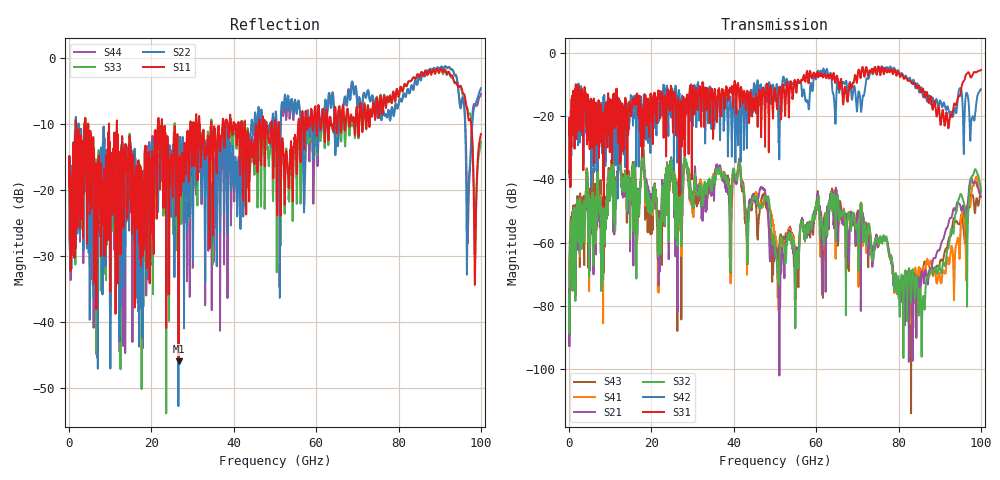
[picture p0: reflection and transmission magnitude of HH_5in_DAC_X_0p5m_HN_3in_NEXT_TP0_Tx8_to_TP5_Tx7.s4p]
# GHz S RI R 45
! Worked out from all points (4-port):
!   4000 points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, 25 MHz to 100 GHz, reference 45 ohm
!   strongest paths, dB at 25 MHz, 25.02 GHz, 50.02 GHz, 75.03 GHz, 100 GHz:
!     S31: -25.9, -17.6, -11.9, -4.7, -5.4
!     S42: -26.1, -11.5, -14.7, -4.3, -11.5
!     S32: -79.5, -34.6, -63.2, -59.6, -43.4
!     S21: -81.0, -34.4, -64.4, -60.7, -45.6
!     S41: -79.5, -34.9, -58.9, -60.2, -43.4
!     S43: -77.6, -35.0, -63.2, -61.1, -43.5
!   lowest |S11| = -46.0 dB at 26.6 GHz (marker M1), VSWR 1.01, Z = 44.6 - j0.0514 ohm
!   |S11| at or under -10 dB: 4.661 GHz to 9.697 GHz (5.036 GHz wide, 70.1 % of centre); 11.65 GHz to 21.63 GHz (9.977 GHz wide, 60 % of centre); 22.59 GHz to 29.47 GHz (6.872 GHz wide, 26.4 % of centre) (the widest 3 of 50)
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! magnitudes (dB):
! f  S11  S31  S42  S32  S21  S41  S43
! 25 MHz  -19.4  -25.9  -26.1  -79.5  -81.0  -79.5  -77.6
! 12.22 GHz  -16.5  -16.2  -22.1  -30.5  -31.2  -29.8  -29.1
! 26.6 GHz  -46.0  -16.5  -12.8  -47.4  -46.6  -44.4  -45.4
! 51.05 GHz  -11.1  -10.8  -33.7  -67.7  -88.8  -75.7  -61.3
! 64.05 GHz  -10.6  -7.3  -12.5  -49.2  -44.2  -45.6  -46.4
! 85.92 GHz  -2.5  -11.3  -13.9  -77.8  -70.2  -67.8  -68.4
! 100 GHz  -11.5  -5.4  -11.5  -43.4  -45.6  -43.4  -43.5
